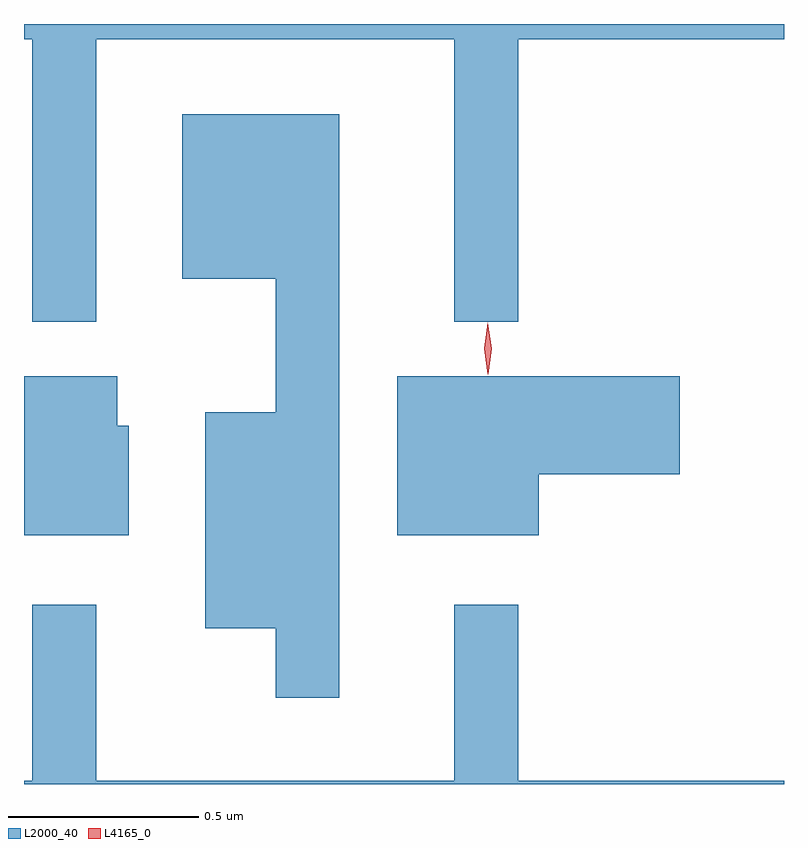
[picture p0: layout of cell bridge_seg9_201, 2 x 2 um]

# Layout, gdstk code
import gdstk
lib = gdstk.Library(unit=1e-6, precision=1e-09)
def P(c, l, *ps):  # polygons
    for p in ps: c.add(gdstk.Polygon(p, *l))
L2000_40 = (2000, 40)
L4165_0 = (4165, 0)

bridge_seg9_201 = lib.new_cell('bridge_seg9_201')
P(bridge_seg9_201, L2000_40, [(1091.969,2007.356),(1092.911,2007.356),(1092.911,2006.613),(1093.079,2006.613),(1093.079,2007.356),(1093.779,2007.356),(1093.779,2007.396),(1091.779,2007.396),(1091.779,2007.356),(1091.801,2007.356),(1091.801,2006.613),(1091.969,2006.613)],
  [(1092.609,2007.159),(1092.196,2007.159),(1092.196,2006.726),(1092.441,2006.726),(1092.441,2006.374),(1092.256,2006.374),(1092.256,2005.806),(1092.441,2005.806),(1092.441,2005.623),(1092.609,2005.623)],
  [(1092.054,2006.339),(1092.024,2006.339),(1092.024,2006.469),(1091.779,2006.469),(1091.779,2006.051),(1092.054,2006.051)],
  [(1093.134,2006.211),(1093.504,2006.211),(1093.504,2006.469),(1092.761,2006.469),(1092.761,2006.051),(1093.134,2006.051)],
  [(1093.779,2005.404),(1093.079,2005.404),(1093.079,2005.868),(1092.911,2005.868),(1092.911,2005.404),(1091.969,2005.404),(1091.969,2005.868),(1091.801,2005.868),(1091.801,2005.404),(1091.779,2005.404),(1091.779,2005.396),(1093.779,2005.396)])
P(bridge_seg9_201, L4165_0, [(1093,2006.474),(1093,2006.474),(1092.99,2006.542),(1092.999,2006.61),(1093,2006.61),(1093,2006.61),(1093.01,2006.542),(1093.001,2006.474)],
  [(1093,2006.48),(1093,2006.48),(1092.99,2006.543),(1092.999,2006.606),(1093,2006.607),(1093,2006.606),(1093.01,2006.543),(1093,2006.48)])

lib.write_gds('bridge_seg9_201.gds')
